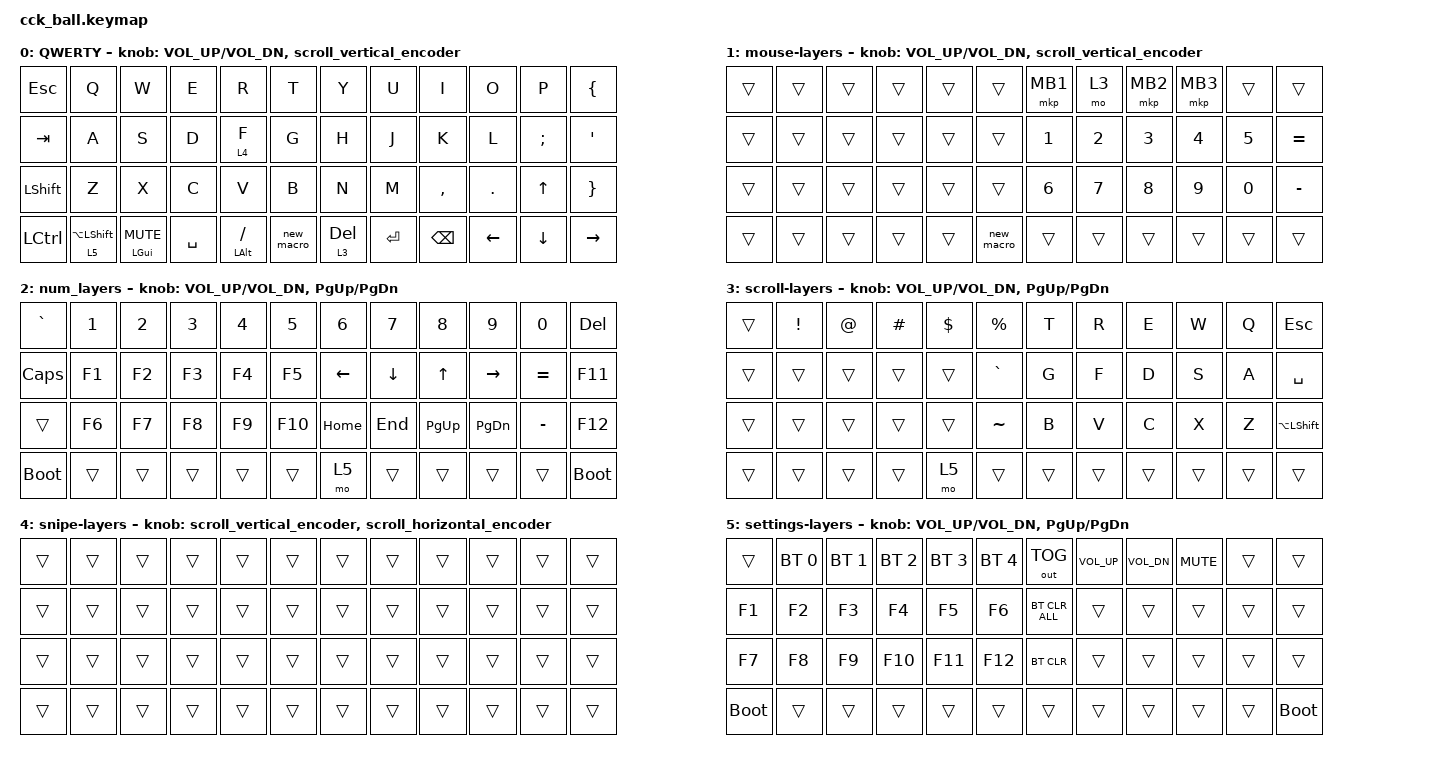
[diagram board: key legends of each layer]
#define ZMK_POINTING_DEFAULT_MOVE_VAL 1000 // 600
#define ZMK_POINTING_DEFAULT_SCRL_VAL 12   // 10

#include <input/processors.dtsi>
#include <zephyr/dt-bindings/input/input-event-codes.h>
#include <behaviors.dtsi>
#include <dt-bindings/zmk/bt.h>
#include <dt-bindings/zmk/keys.h>
#include <dt-bindings/zmk/outputs.h>
#include <dt-bindings/zmk/pointing.h>

&mmv_input_listener { input-processors = <&zip_xy_scaler 2 1>; };

&msc_input_listener { input-processors = <&zip_scroll_scaler 2 1>; };

&msc {
    acceleration-exponent = <0>;      // 0
    time-to-max-speed-ms = <300>;       // 300
    delay-ms = <0>;                   // 0
};

&mmv {
    time-to-max-speed-ms = <500>;
    acceleration-exponent = <1>;
    trigger-period-ms = <16>;
};

&soft_off { hold-time-ms = <2000>; };

/ {
    // 上下滚动编码器行为

    scroll_vertical_encoder: scroll_vertical_encoder {
        compatible = "zmk,behavior-sensor-rotate";
        #sensor-binding-cells = <0>;
        bindings = <&msc SCRL_UP>, <&msc SCRL_DOWN>;

        tap-ms = <100>;
    };

    // 左右滚动编码器行为

    scroll_horizontal_encoder: scroll_horizontal_encoder {
        compatible = "zmk,behavior-sensor-rotate";
        #sensor-binding-cells = <0>;
        bindings = <&msc SCRL_LEFT>, <&msc SCRL_RIGHT>;

        tap-ms = <100>;
    };

    behaviors {
    };

    combos {
        compatible = "zmk,combos";

        mouse {
            bindings = <&tog 1>;
            key-positions = <6 7>;
        };
    };

    macros {
        new_macro: new_macro {
            compatible = "zmk,behavior-macro";
            #binding-cells = <0>;
            bindings =
                <&macro_tap>,
                <&tog 1>,
                <&macro_pause_for_release>,
                <&macro_tap>,
                <&tog 1>;

            label = "NEW_MACRO";
        };
    };

    keymap {
        compatible = "zmk,keymap";

        QWERTY {
            bindings = <
&kp ESCAPE        &kp Q                 &kp W                &kp E      &kp R               &kp T       &kp Y         &kp U      &kp I          &kp O           &kp P           &kp LEFT_BRACE
&kp TAB           &kp A                 &kp S                &kp D      &lt 4 F             &kp G       &kp H         &kp J      &kp K          &kp L           &kp SEMI        &kp SQT
&kp LEFT_SHIFT    &kp Z                 &kp X                &kp C      &kp V               &kp B       &kp N         &kp M      &kp COMMA      &kp DOT         &kp UP_ARROW    &kp RIGHT_BRACE
&kp LEFT_CONTROL  &lt 5 LA(LEFT_SHIFT)  &mt LEFT_GUI C_MUTE  &kp SPACE  &mt LEFT_ALT SLASH  &new_macro  &lt 3 DELETE  &kp ENTER  &kp BACKSPACE  &kp LEFT_ARROW  &kp DOWN_ARROW  &kp RIGHT_ARROW
            >;

            sensor-bindings =
                <&inc_dec_kp C_VOL_UP C_VOL_DN>,
                <&scroll_vertical_encoder>;
        };

        mouse-layers {
            bindings = <
&trans  &trans  &trans  &trans  &trans  &trans      &mkp MB1      &mo 3         &mkp MB2      &mkp MB3      &trans        &trans
&trans  &trans  &trans  &trans  &trans  &trans      &kp NUMBER_1  &kp NUMBER_2  &kp NUMBER_3  &kp NUMBER_4  &kp NUMBER_5  &kp EQUAL
&trans  &trans  &trans  &trans  &trans  &trans      &kp NUMBER_6  &kp NUMBER_7  &kp NUMBER_8  &kp NUMBER_9  &kp NUMBER_0  &kp MINUS
&trans  &trans  &trans  &trans  &trans  &new_macro  &trans        &trans        &trans        &trans        &trans        &trans
            >;

            sensor-bindings =
                <&inc_dec_kp C_VOL_UP C_VOL_DN>,
                <&scroll_vertical_encoder>;
        };

        num_layers {
            bindings = <
&kp GRAVE    &kp N1  &kp N2  &kp N3  &kp N4  &kp N5   &kp NUMBER_6    &kp N7          &kp N8        &kp N9     &kp N0     &kp DEL
&kp CAPS     &kp F1  &kp F2  &kp F3  &kp F4  &kp F5   &kp LEFT_ARROW  &kp DOWN_ARROW  &kp UP_ARROW  &kp RIGHT  &kp EQUAL  &kp F11
&trans       &kp F6  &kp F7  &kp F8  &kp F9  &kp F10  &kp HOME        &kp END         &kp PG_UP     &kp PG_DN  &kp MINUS  &kp F12
&bootloader  &trans  &trans  &trans  &trans  &trans   &mo 5           &trans          &trans        &trans     &trans     &bootloader
            >;

            sensor-bindings = <&inc_dec_kp C_VOL_UP C_VOL_DN &inc_dec_kp PG_UP PG_DN>;
        };

        scroll-layers {
            bindings = <
&trans  &kp EXCL  &kp AT  &kp HASH  &kp DOLLAR  &kp PERCENT  &kp T   &kp R   &kp E   &kp W   &kp Q   &kp ESCAPE
&trans  &trans    &trans  &trans    &trans      &kp GRAVE    &kp G   &kp F   &kp D   &kp S   &kp A   &kp SPACE
&trans  &trans    &trans  &trans    &trans      &kp TILDE    &kp B   &kp V   &kp C   &kp X   &kp Z   &kp LA(LEFT_SHIFT)
&trans  &trans    &trans  &trans    &mo 5       &trans       &trans  &trans  &trans  &trans  &trans  &trans
            >;

            sensor-bindings = <&inc_dec_kp C_VOL_UP C_VOL_DN &inc_dec_kp PG_UP PG_DN>;
        };

        snipe-layers {
            bindings = <
&trans  &trans  &trans  &trans  &trans  &trans  &trans  &trans  &trans  &trans  &trans  &trans
&trans  &trans  &trans  &trans  &trans  &trans  &trans  &trans  &trans  &trans  &trans  &trans
&trans  &trans  &trans  &trans  &trans  &trans  &trans  &trans  &trans  &trans  &trans  &trans
&trans  &trans  &trans  &trans  &trans  &trans  &trans  &trans  &trans  &trans  &trans  &trans
            >;

            sensor-bindings =
                <&scroll_vertical_encoder>,
                // 编码器1：上下滚动,，,,,,,,,,,,,,,,,,,,,
                <&scroll_horizontal_encoder>;

            // 编码器2：左右滚动
        };

        settings-layers {
            bindings = <
&trans       &bt BT_SEL 0  &bt BT_SEL 1  &bt BT_SEL 2  &bt BT_SEL 3  &bt BT_SEL 4  &out OUT_TOG    &kp C_VOL_UP  &kp C_VOL_DN  &kp C_MUTE  &trans  &trans
&kp F1       &kp F2        &kp F3        &kp F4        &kp F5        &kp F6        &bt BT_CLR_ALL  &trans        &trans        &trans      &trans  &trans
&kp F7       &kp F8        &kp F9        &kp F10       &kp F11       &kp F12       &bt BT_CLR      &trans        &trans        &trans      &trans  &trans
&bootloader  &trans        &trans        &trans        &trans        &trans        &trans          &trans        &trans        &trans      &trans  &bootloader
            >;

            sensor-bindings = <&inc_dec_kp C_VOL_UP C_VOL_DN &inc_dec_kp PG_UP PG_DN>;
        };
    };
};
